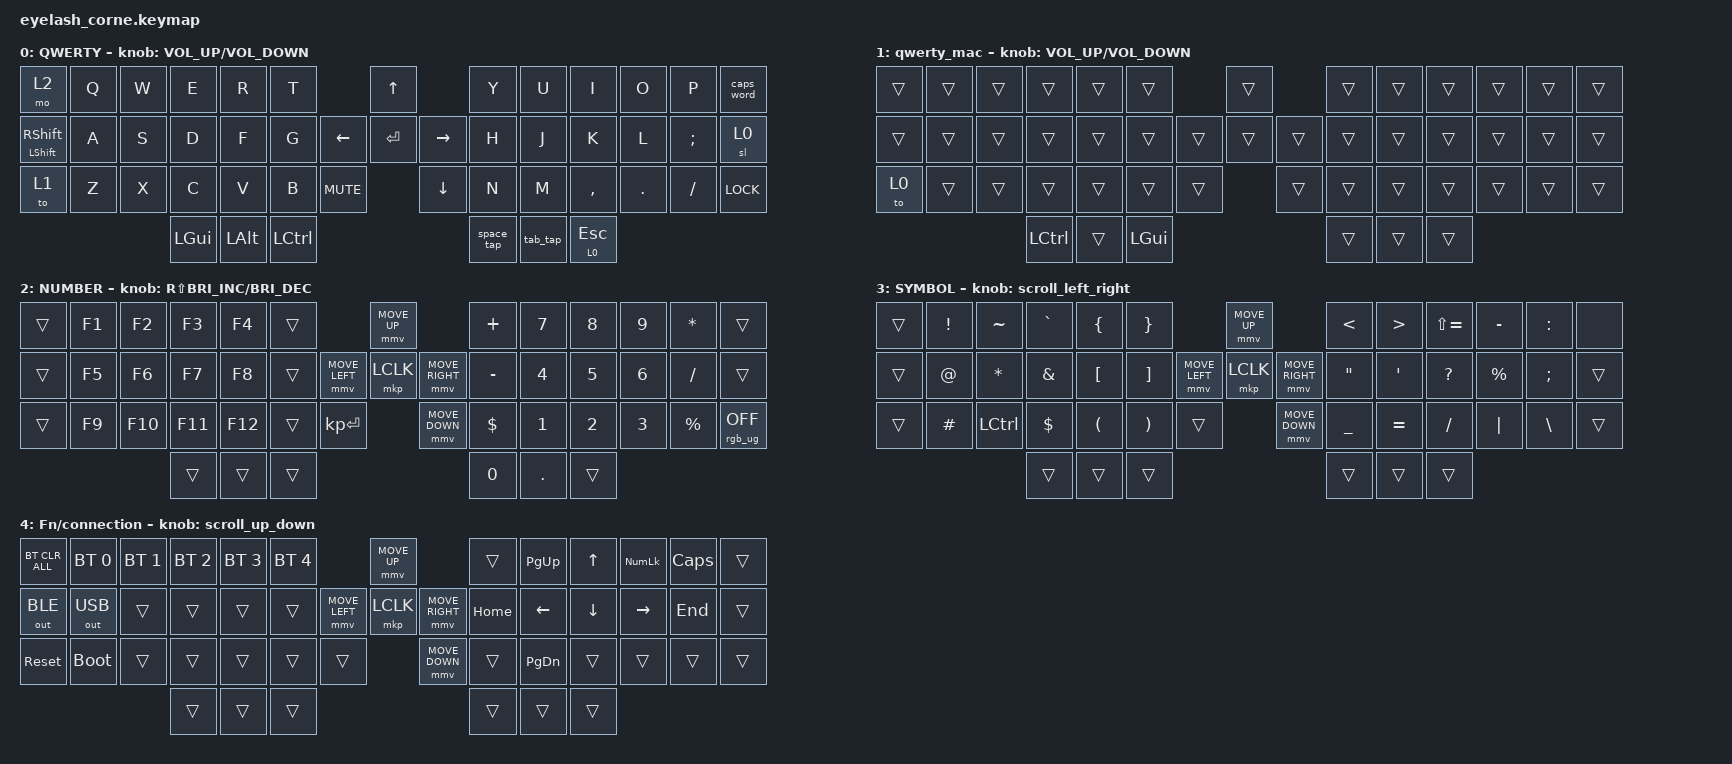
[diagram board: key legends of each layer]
#define ZMK_POINTING_DEFAULT_MOVE_VAL 1200  // 600
#define ZMK_POINTING_DEFAULT_SCRL_VAL 25   // 10

#include <input/processors.dtsi>
#include <zephyr/dt-bindings/input/input-event-codes.h>
#include <behaviors.dtsi>
#include <dt-bindings/zmk/bt.h>
#include <dt-bindings/zmk/keys.h>
#include <dt-bindings/zmk/outputs.h>
#include <dt-bindings/zmk/pointing.h>
#include <dt-bindings/zmk/rgb.h>

&mmv_input_listener { input-processors = <&zip_xy_scaler 2 1>; };

&msc_input_listener { input-processors = <&zip_scroll_scaler 2 1>; };

&msc {
    acceleration-exponent = <1>;      // 0
    time-to-max-speed-ms = <100>;       // 300
    delay-ms = <0>;                   // 0
};

&mmv {
    time-to-max-speed-ms = <500>;
    acceleration-exponent = <1>;
    trigger-period-ms = <16>;
};

/ {
    behaviors {
        space_tap: space_tap {
            compatible = "zmk,behavior-tap-dance";
            label = "SPACE_TAP";
            #binding-cells = <0>;
            bindings = <&lt 3 SPACE>, <&kp SPACE>;

            tapping-term-ms = <100>;
        };

        tab_tap: tab_tap {
            compatible = "zmk,behavior-tap-dance";
            label = "TAB_TAP";
            #binding-cells = <0>;
            bindings = <&lt 4 TAB>, <&kp TAB>;

            tapping-term-ms = <100>;
        };

        scroll_left_right: scroll_left_right {
            compatible = "zmk,behavior-sensor-rotate";
            #sensor-binding-cells = <0>;
            bindings = <&msc SCRL_LEFT>, <&msc SCRL_RIGHT>;

            tap-ms = <20>;
            label = "SCROLL_LEFT_RIGHT";
        };
    };

    scroll_up_down: scroll_up_down {
        compatible = "zmk,behavior-sensor-rotate";
        #sensor-binding-cells = <0>;
        bindings = <&msc MOVE_Y(-5)>, <&msc MOVE_Y(5)>;

        tap-ms = <20>;
        label = "SCROLL_UP_DOWN";
    };

    combos {
        compatible = "zmk,combos";

        enter {
            bindings = <&kp ENTER>;
            key-positions = <23 24>;
        };

        backspace {
            bindings = <&kp BACKSPACE>;
            key-positions = <16 17>;
        };

        delete {
            bindings = <&kp DELETE>;
            key-positions = <3 4>;
        };
    };

    keymap {
        compatible = "zmk,keymap";

        QWERTY {
            display-name = "QWERTY";
            bindings = <
&mo 2                       &kp Q  &kp W  &kp E     &kp R         &kp T                                     &kp UP                &kp Y       &kp U     &kp I         &kp O    &kp P     &caps_word
&mt LEFT_SHIFT RIGHT_SHIFT  &kp A  &kp S  &kp D     &kp F         &kp G                           &kp LEFT  &kp ENTER  &kp RIGHT  &kp H       &kp J     &kp K         &kp L    &kp SEMI  &sl 0
&to 1                       &kp Z  &kp X  &kp C     &kp V         &kp B             &kp C_MUTE              &kp DOWN              &kp N       &kp M     &kp COMMA     &kp DOT  &kp FSLH  &kp K_LOCK
                                          &kp LGUI  &kp LEFT_ALT  &kp LEFT_CONTROL                                                &space_tap  &tab_tap  &lt 0 ESCAPE
            >;

            sensor-bindings = <&inc_dec_kp C_VOLUME_UP C_VOLUME_DOWN>;
        };

        qwerty_mac {
            bindings = <
&trans  &trans  &trans  &trans     &trans  &trans                      &trans          &trans  &trans  &trans  &trans  &trans  &trans
&trans  &trans  &trans  &trans     &trans  &trans              &trans  &trans  &trans  &trans  &trans  &trans  &trans  &trans  &trans
&to 0   &trans  &trans  &trans     &trans  &trans    &trans            &trans          &trans  &trans  &trans  &trans  &trans  &trans
                        &kp LCTRL  &trans  &kp LGUI                                    &trans  &trans  &trans
            >;

            label = "qwerty_mac";
            sensor-bindings = <&inc_dec_kp C_VOLUME_UP C_VOLUME_DOWN>;
        };

        numbers {
            display-name = "NUMBER";
            bindings = <
&trans  &kp F1  &kp F2   &kp F3   &kp F4   &trans                                  &mmv MOVE_UP                     &kp PLUS    &kp N7        &kp N8        &kp N9        &kp ASTERISK  &trans
&trans  &kp F5  &kp F6   &kp F7   &kp F8   &trans                  &mmv MOVE_LEFT  &mkp LCLK       &mmv MOVE_RIGHT  &kp MINUS   &kp NUMBER_4  &kp NUMBER_5  &kp NUMBER_6  &kp SLASH     &trans
&trans  &kp F9  &kp F10  &kp F11  &kp F12  &trans  &kp KP_ENTER                    &mmv MOVE_DOWN                   &kp DOLLAR  &kp NUMBER_1  &kp NUMBER_2  &kp NUMBER_3  &kp PERCENT   &rgb_ug RGB_OFF
                         &trans   &trans   &trans                                                                   &kp N0      &kp PERIOD    &trans
            >;

            sensor-bindings = <&inc_dec_kp RS(C_BRIGHTNESS_INC) C_BRIGHTNESS_DEC>;
        };

        symbols {
            display-name = "SYMBOL";
            bindings = <
&trans  &kp EXCL     &kp TILDE     &kp GRAVE      &kp LEFT_BRACE        &kp RIGHT_BRACE                                  &mmv MOVE_UP                     &kp LESS_THAN      &kp GREATER_THAN  &kp LS(EQUAL)  &kp MINUS    &kp COLON      &none
&trans  &kp AT_SIGN  &kp ASTERISK  &kp AMPERSAND  &kp LEFT_BRACKET      &kp RIGHT_BRACKET                &mmv MOVE_LEFT  &mkp LCLK       &mmv MOVE_RIGHT  &kp DOUBLE_QUOTES  &kp SQT           &kp QUESTION   &kp PERCENT  &kp SEMICOLON  &trans
&trans  &kp HASH     &kp LCTRL     &kp DOLLAR     &kp LEFT_PARENTHESIS  &kp RIGHT_PARENTHESIS  &trans                    &mmv MOVE_DOWN                   &kp UNDERSCORE     &kp EQUAL         &kp SLASH      &kp PIPE     &kp BACKSLASH  &trans
                                   &trans         &trans                &trans                                                                            &trans             &trans            &trans
            >;

            sensor-bindings = <&scroll_left_right>;
        };

        controls {
            display-name = "Fn/connection";
            bindings = <
&bt BT_CLR_ALL  &bt BT_SEL 0  &bt BT_SEL 1  &bt BT_SEL 2  &bt BT_SEL 3  &bt BT_SEL 4                            &mmv MOVE_UP                     &trans    &kp PAGE_UP     &kp UP_ARROW    &kp KP_NUMLOCK   &kp CAPSLOCK  &trans
&out OUT_BLE    &out OUT_USB  &trans        &trans        &trans        &trans                  &mmv MOVE_LEFT  &mkp LCLK       &mmv MOVE_RIGHT  &kp HOME  &kp LEFT_ARROW  &kp DOWN_ARROW  &kp RIGHT_ARROW  &kp END       &trans
&sys_reset      &bootloader   &trans        &trans        &trans        &trans        &trans                    &mmv MOVE_DOWN                   &trans    &kp PAGE_DOWN   &trans          &trans           &trans        &trans
                                            &trans        &trans        &trans                                                                   &trans    &trans          &trans
            >;

            sensor-bindings = <&scroll_up_down>;
        };
    };
};
